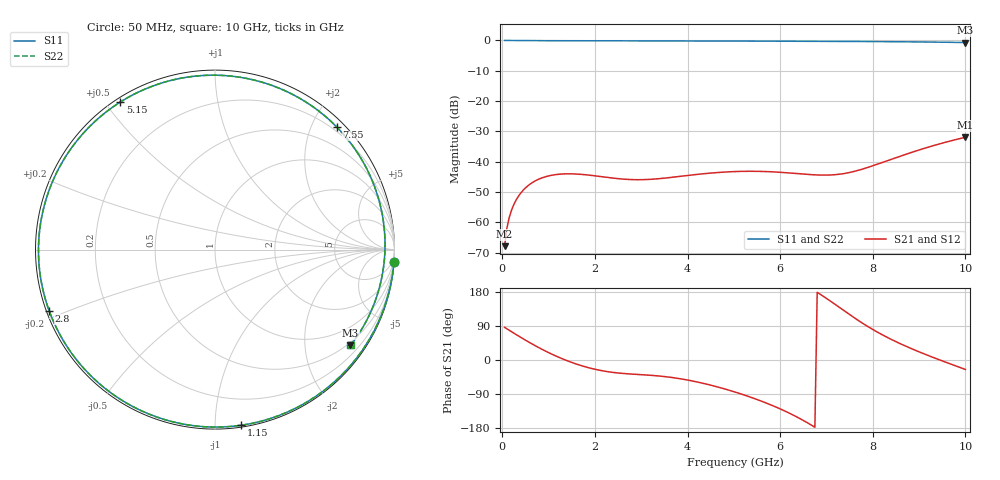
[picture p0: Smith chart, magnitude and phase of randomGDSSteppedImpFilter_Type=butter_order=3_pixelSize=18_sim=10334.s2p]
! freq	dB(S11)	phase(S11)	dB(S12)	phase(S12)
!  dB(S21)	phase(S21)	dB(S22)	phase(S22)
!S-par simulation data
#  GHz  S  DB  R 50
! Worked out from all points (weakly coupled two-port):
!   200 points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, 50 MHz to 10 GHz, reference 50 ohm
!   highest |S21| = -31.94 dB at 10 GHz (marker M1); lowest = -67.9 dB at 50 MHz (marker M2)
!   lowest |S11| = -0.7 dB at 10 GHz (marker M3), VSWR 25.55, Z = 21 - j155 ohm
!   |S11| at or under -10 dB: nowhere
!   |S22| runs from -0.7 to 0.0 dB; largest |S21 - S12| = 0
!   S11 on the Smith chart (normalised r, x): 50 MHz: 0, -29; 1.15 GHz: 0.01, -1.16; 2.8 GHz: 0.01, -0.18; 5.15 GHz: 0.02, +0.55; 7.55 GHz: 0.13, +2.40; 10 GHz: 0.42, -3.09
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0.05  -0.00 -3.9  -67.86 86.1  -67.86 86.1  -0.00 -3.9
0.1  -0.01 -7.8  -61.87 82.2  -61.87 82.2  -0.01 -7.8
0.15  -0.02 -11.6  -58.40 78.4  -58.40 78.4  -0.02 -11.6
0.25  -0.03 -19.2  -54.09 70.8  -54.09 70.8  -0.03 -19.2
0.35  -0.04 -26.8  -51.36 63.3  -51.36 63.3  -0.04 -26.8
0.55  -0.06 -41.5  -47.97 48.8  -47.97 48.8  -0.06 -41.5
0.75  -0.07 -55.6  -46.02 35.1  -46.02 35.1  -0.07 -55.6
1.15  -0.09 -81.5  -44.26 10.9  -44.26 10.9  -0.09 -81.5
1.45  -0.10 -98.9  -43.99 -4.2  -43.99 -4.2  -0.10 -98.9
1.75  -0.11 -114.6  -44.23 -16.5  -44.23 -16.5  -0.11 -114.6
2.25  -0.12 -137.7  -45.15 -30.3  -45.15 -30.3  -0.12 -137.6
2.8  -0.13 -159.7  -45.90 -37.2  -45.90 -37.2  -0.13 -159.7
3.4  -0.14 178.8  -45.57 -42.4  -45.57 -42.4  -0.14 178.9
4.2  -0.17 152.5  -44.19 -57.8  -44.19 -57.8  -0.17 152.6
5.05  -0.20 125.8  -43.23 -85.5  -43.23 -85.5  -0.20 125.9
5.15  -0.20 122.7  -43.19 -89.4  -43.19 -89.4  -0.20 122.8
5.95  -0.24 97.4  -43.44 -126.3  -43.44 -126.3  -0.24 97.6
6.7  -0.28 73.2  -44.30 -173.7  -44.30 -173.7  -0.28 73.4
7.55  -0.33 45.2  -43.38 115.6  -43.38 115.6  -0.33 45.3
8.35  -0.40 18.4  -39.47 57.4  -39.47 57.4  -0.40 18.6
9.15  -0.51 -8.0  -35.41 14.1  -35.41 14.1  -0.51 -7.8
10  -0.68 -35.3  -31.94 -24.9  -31.94 -24.9  -0.68 -35.1
